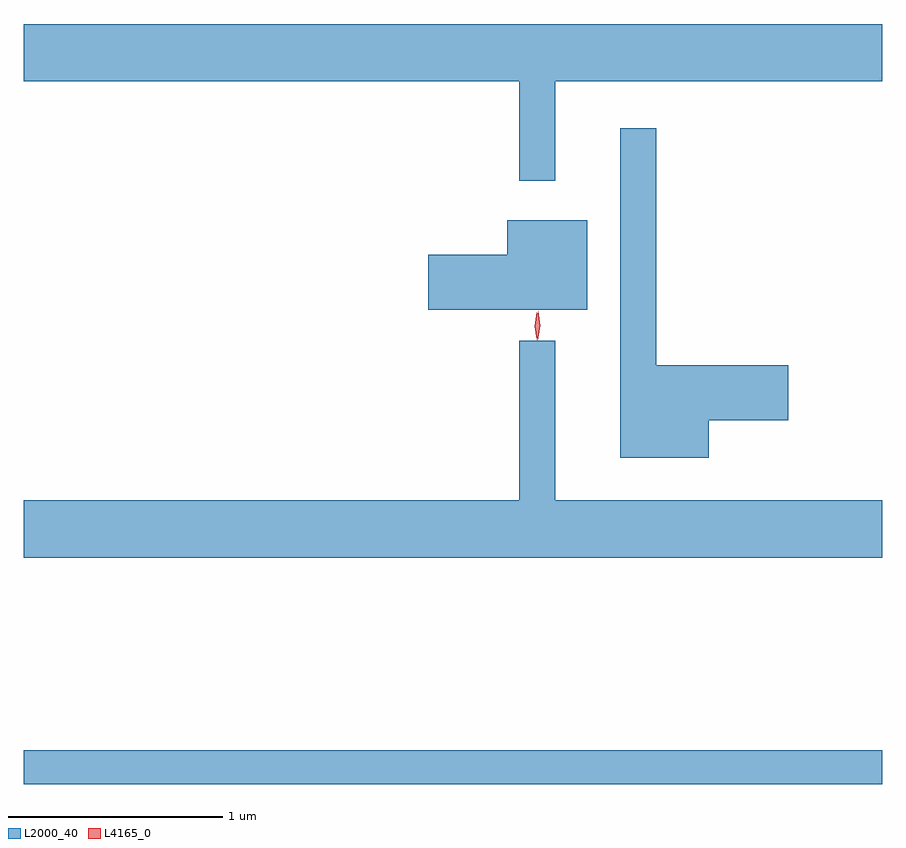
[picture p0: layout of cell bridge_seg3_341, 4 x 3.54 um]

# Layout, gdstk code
import gdstk
lib = gdstk.Library(unit=1e-6, precision=1e-09)
def R(c, l, rs):  # rectangles x0, y0, x1, y1
    for r in rs: c.add(gdstk.rectangle(r[:2], r[2:], *l))
def P(c, l, *ps):  # polygons
    for p in ps: c.add(gdstk.Polygon(p, *l))
L2000_40 = (2000, 40)
L4165_0 = (4165, 0)

bridge_seg3_341 = lib.new_cell('bridge_seg3_341')
R(bridge_seg3_341, L2000_40, [(327.002,1202.661,331.002,1202.819)])
P(bridge_seg3_341, L2000_40, [(329.479,1205.936),(331.002,1205.936),(331.002,1206.204),(327.002,1206.204),(327.002,1205.936),(329.311,1205.936),(329.311,1205.473),(329.479,1205.473)],
  [(330.194,1204.356),(330.564,1204.356),(330.564,1204.614),(329.949,1204.614),(329.949,1205.718),(329.781,1205.718),(329.781,1204.181),(330.194,1204.181)],
  [(329.629,1205.289),(329.256,1205.289),(329.256,1205.129),(328.886,1205.129),(328.886,1204.871),(329.629,1204.871)],
  [(331.002,1203.984),(329.479,1203.984),(329.479,1204.728),(329.311,1204.728),(329.311,1203.984),(327.002,1203.984),(327.002,1203.716),(331.002,1203.716)])
P(bridge_seg3_341, L4165_0, [(329.397,1204.73),(329.389,1204.798),(329.399,1204.866),(329.399,1204.866),(329.4,1204.866),(329.409,1204.798),(329.398,1204.73),(329.398,1204.73)],
  [(329.393,1204.733),(329.392,1204.734),(329.383,1204.796),(329.392,1204.86),(329.393,1204.86),(329.393,1204.86),(329.403,1204.796),(329.393,1204.734)])

lib.write_gds('bridge_seg3_341.gds')
